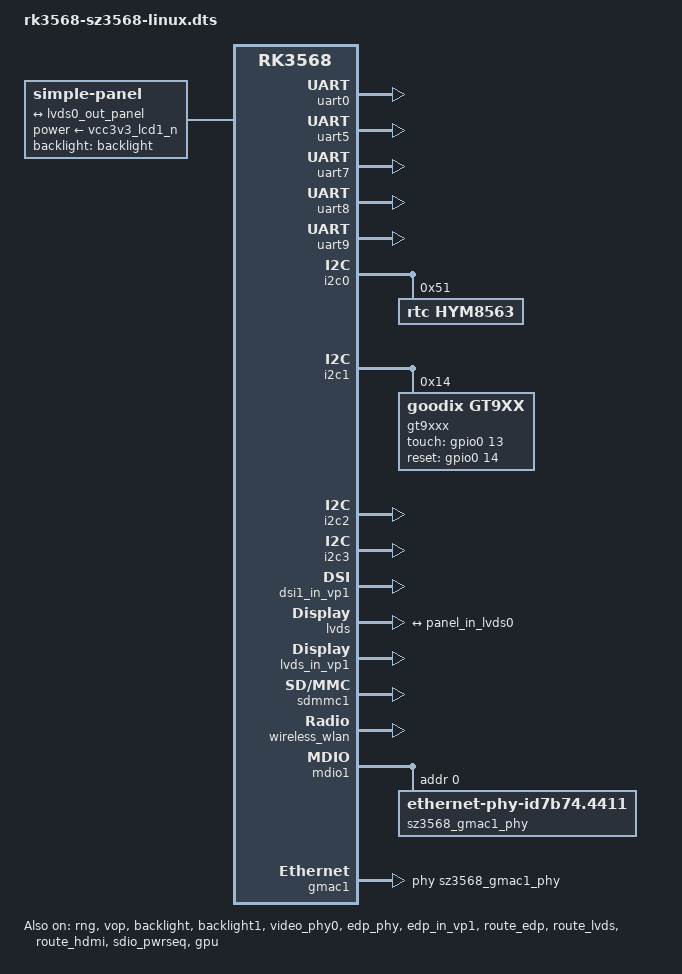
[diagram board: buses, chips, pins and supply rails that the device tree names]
#include "rk3568-sz3568-v10.dtsi"
#include "rk3568-linux.dtsi"
#include <dt-bindings/display/rockchip_vop.h>

/ {
        panel {
                compatible = "simple-panel";
                backlight = <&backlight>;
                power-supply = <&vcc3v3_lcd1_n>;
                enable-delay-ms = <20>;
                prepare-delay-ms = <20>;
                unprepare-delay-ms = <20>;
                disable-delay-ms = <20>;
                //bus-format = <MEDIA_BUS_FMT_RGB666_1X7X3_SPWG>;
                width-mm = <217>;
                height-mm = <136>;
        	status = "okay";

                disp_timings2: display-timings {
                        native-mode = <&timing0>;

                        timing0: timing0 {
                                /* iPool 7" XXR070B4120, 1024x600 single-ch LVDS.
                                 * Exact values from the vendor's WORKING shipped
                                 * DTB (sz3568_..._lvds_1024x600 image). */
                                clock-frequency = <66000000>;
                                hactive = <1024>;
                                vactive = <600>;
                                hback-porch = <200>;
                                hfront-porch = <110>;
                                vback-porch = <20>;
                                vfront-porch = <13>;
                                hsync-len = <10>;
                                vsync-len = <2>;
                                hsync-active = <0>;
                                vsync-active = <0>;
                                de-active = <0>;
                                pixelclk-active = <0>;
                        };
                };

                ports {
                        #address-cells = <1>;
                        #size-cells = <0>;

			/* Single-channel LVDS: panel <-> &lvds (LVDS0) only.
			 * (Vendor working 1024x600 build is single-channel; the
			 * dual-lvds odd/even split was for their 1920x1080 panel.) */
			port@0 {
				reg = <0>;
				panel_in_lvds0: endpoint {
					remote-endpoint = <&lvds0_out_panel>;
				};
			};
                };
        };
        edp-panel {
                compatible = "simple-panel";
                backlight = <&backlight>;
                power-supply = <&vcc3v3_lcd0_n>;
                prepare-delay-ms = <120>;
                enable-delay-ms = <120>;
                unprepare-delay-ms = <120>;
                disable-delay-ms = <120>;
        	status = "disabled";

                display-timings {
                        native-mode = <&edp_timing>;

                        edp_timing: timing0 {
                                clock-frequency = <120000000>;
                                hactive = <1920>;
                                vactive = <1080>;
                                hfront-porch = <12>;
                                hsync-len = <16>;
                                hback-porch = <48>;
                                vfront-porch = <8>;
                                vsync-len = <4>;
                                vback-porch = <8>;
                                hsync-active = <0>;
                                vsync-active = <0>;
                                de-active = <0>;
                                pixelclk-active = <0>;
                        };
                };

                port {
                        panel_in_edp: endpoint {
                                remote-endpoint = <&edp_out_panel>;
                        };
                };
        };
};

&rng {
        status = "okay";
};

&rockchip_suspend {
        status = "disabled";
};

&vop {
        support-multi-area;
};

&uart0 {
        status = "okay";
};
/*
&uart1 {
        pinctrl-names = "default";
        pinctrl-0 = <&uart1m1_xfer>;
        status = "okay";
};*/

&uart5 {
        pinctrl-names = "default";
        pinctrl-0 = <&uart5m1_xfer>;
        status = "okay";
};

&uart7 {
        pinctrl-names = "default";
        pinctrl-0 = <&uart7m2_xfer>;
        status = "okay";
};

&uart8 {
        pinctrl-names = "default";
        /* iPool bench: the UART3/ttyS8 header on this board is wired to the uart8
         * M0 pin group (that is where serial output actually appears). The vendor
         * DTS used uart8m1_xfer which routes ttyS8 to the M1 pins -> no output on
         * our header. Use m0 to match the physical console connection. */
        pinctrl-0 = <&uart8m0_xfer>;
        status = "okay";
};

&uart9 {
        pinctrl-names = "default";
        pinctrl-0 = <&uart9m2_xfer>;
        status = "okay";
};


&i2c0 {
        status = "okay";
         rtc@51 {
                compatible = "rtc,hym8563";
                reg = <0x51>;
                //irq_gpio = <&gpio4 25 IRQ_TYPE_EDGE_FALLING>;
        };

};

&i2c1 {
        status = "okay";

        gt9xxx: gt9xx@14 {
                compatible = "goodix,gt9xx";
                reg = <0x14>;
                //touch-gpio = <&gpio1 9 IRQ_TYPE_LEVEL_LOW>;
                //reset-gpio = <&gpio1 10 GPIO_ACTIVE_HIGH>;
                touch-gpio = <&gpio0 13 IRQ_TYPE_LEVEL_LOW>;
                reset-gpio = <&gpio0 14 GPIO_ACTIVE_HIGH>;
                max-x = <1536>;
                max-y = <2048>;
                tp-size = <970>;
                status = "okay";

        };

    gt911: gt911@14 {
                compatible = "goodix,gt9xx";
                reg = <0x14>;
                touch-gpio = <&gpio0 5 IRQ_TYPE_LEVEL_LOW>;
                reset-gpio = <&gpio0 12 GPIO_ACTIVE_HIGH>;
                max-x = <1280>;
                max-y = <800>;
                tp-size = <911>;
                status = "disabled";
        };
};

&i2c2 {
    status = "okay";
    /* i2c mux investigation CLOSED: m1 (GPIO4_B5/B4) = clean bus, 0 devices;
     * m0 (GPIO0_B5/B6) = continuous "rk3x-i2c fe5b0000.i2c: timeout state 2"
     * (bus stuck, floods log, delays boot to 40s). The GM8775C is on NEITHER --
     * it is not an i2c slave on this board (strap-configured). Keep m1 (clean). */
    pinctrl-0 = <&i2c2m1_xfer>;
        // tc_bridge: bridge@0f {

        //      compatible = "toshiba,tc358775";
        //      reg = <0x0f>;
        //      vdd-supply = <&vcc1v2_tc358775>;
        //      // vddio-supply = <&vcc1v2_tc358775>;
        //      // stby-gpios = <&gpio3 RK_PD5 GPIO_ACTIVE_LOW>;
        //      reset-gpios = <&gpio3 RK_PD5 GPIO_ACTIVE_LOW>;
        //      ports {
        //              #address-cells = <1>;
        //              #size-cells = <0>;
        //              port@0 {
        //                      reg = <0>;
        //                      d2l_in_test: endpoint {
        //                              remote-endpoint = <&dsi0_out>;
        //                      };
        //              };
        //              port@1 {
        //                      reg = <1>;
        //                      lvds_out: endpoint {
        //                              remote-endpoint = <&panel_in>;
        //                      };
        //              };
        //      };
        // };

        /* Bridge chips DISABLED: this board drives the panel via the SoC's
         * native LVDS (see DISPLAY block below), so neither the TC358775 nor
         * the GM8775C is in the display path. Left here (disabled) only to
         * document the vendor's populated-but-unused footprints; keeping them
         * "okay" just made the tc358775 driver probe a non-responding i2c slave. */
        tc8775: tc8775@0f {
        compatible ="toshiba,tc358775";
        reg=<0x0f>;
        status="disabled";
    };
        gm8775c@2c {
                               compatible = "gm8775c,mipi_to_lvds";
                               reg = <0x2c>;
                               status = "disabled";
               };

};

&i2c3 {
        status = "okay";

     /*  gt9xxx: gt9xx@14 {
                compatible = "goodix,gt9xx";
                reg = <0x14>;
               // touch-gpio = <&gpio1 9 IRQ_TYPE_LEVEL_LOW>;
               // reset-gpio = <&gpio1 10 GPIO_ACTIVE_HIGH>;
                touch-gpio = <&gpio0 13 IRQ_TYPE_LEVEL_LOW>;
                reset-gpio = <&gpio0 14 GPIO_ACTIVE_HIGH>;
                max-x = <1536>;
                max-y = <2048>;
                tp-size = <970>;
                status = "okay";

        };*/
};


&backlight {
        status = "okay";
        enable-gpios = <&gpio0 29 0>;
        power-supply = <&vcc3v3_lcd0_n>;
        post-pwm-on-delay-ms = <100>;
        pwm-off-delay-ms = <10>;

};

&backlight1 {
        enable-gpios = <&gpio0 28 0>;
        power-supply = <&vcc3v3_lcd1_n>;
        post-pwm-on-delay-ms = <100>;
        pwm-off-delay-ms = <10>;
        status = "okay";
};


&dsi0 {
        status = "disabled";
};

&dsi0_in_vp0 {
        status = "disabled";
};

&dsi0_in_vp1 {
        status = "disabled";
};

&video_phy0 {
        status = "okay";
};

&dsi1 {
        enable-gpios = <&gpio0 RK_PB0 GPIO_ACTIVE_HIGH>;
        tc3587_res-gpios = <&gpio3 RK_PD5 GPIO_ACTIVE_HIGH>;
        tc3587-res-gpios-sw = "on";
        power-supply = <&vcc1v2_tc358775>;
        rockchip,lane-rate = <900>;
        status = "disabled";
};

&dsi1_in_vp0 {
        status = "disabled";
};

&dsi1_in_vp1 {
        status = "okay";
};

&video_phy1 {
        status = "okay";
};

&edp {
        force-hpd;
        status = "disabled";

        ports {
                port@1 {
                        reg = <1>;

                        edp_out_panel: endpoint {
                                remote-endpoint = <&panel_in_edp>;
                        };
                };
        };
};

&edp_phy {
        status = "okay";
};

&edp_in_vp0 {
        status = "disabled";
};

&edp_in_vp1 {
        status = "okay";
};
&route_edp {
        connect = <&vp1_out_edp>;
        status = "okay";
};

&lvds {
        status = "disabled";
	dual-channel;

        ports {
                port@1 {
                        reg = <1>;

                        lvds0_out_panel: endpoint {
                                remote-endpoint = <&panel_in_lvds0>;
                        };
                };
        };

};

&lvds1 {
	status = "disabled";

	ports {
		port@1 {
			reg = <1>;
			lvds1_out_panel: endpoint {
				remote-endpoint = <&panel_in_lvds1>;
			};
		};
	};
};

&lvds_in_vp1 {
        status = "okay";
};

&lvds_in_vp2 {
        status = "disabled";
};
&route_lvds {
        status = "okay";
        connect = <&vp1_out_lvds>;
};

&dmc {
        status = "disabled";
        auto-freq-en = <0>;
};

&hdmi {
        status = "okay";
};

&route_hdmi{
        status = "okay";
};

&hdmi_sound {
        status = "okay";
};

&vp1{
        rockchip,plane-mask = <(1<< ROCKCHIP_VOP2_CLUSTER0 | 1 << ROCKCHIP_VOP2_ESMART0 | 1 << ROCKCHIP_VOP2_SMART0)>;
        rockchip,primary-plane = <ROCKCHIP_VOP2_SMART0>;
};

&vp0{
        rockchip,plane-mask = <(1<< ROCKCHIP_VOP2_CLUSTER1 | 1 << ROCKCHIP_VOP2_ESMART1 | 1 << ROCKCHIP_VOP2_SMART1)>;
        rockchip,primary-plane = <ROCKCHIP_VOP2_SMART1>;
};
/*
&vp0 {
        cursor-win-id = <ROCKCHIP_VOP2_CLUSTER0>;
};

&vp1 {
        cursor-win-id = <ROCKCHIP_VOP2_CLUSTER1>;
};*/

/*
 * iPool: disable USB2 host1 (EHCI fd880000 + OHCI fd8c0000). Its downstream
 * port is unpopulated (the board's 4G/USB slot) and floats, so the hub driver
 * spins in a tight retry loop spamming "usb5-port1: config error / Cannot
 * enable. Maybe the USB cable is bad?" -- this floods the synchronous ttyS8
 * console and starves the boot before userspace/Boot2Qt. Nothing we need is on
 * host1 (touchscreen is on host0 fd800000; WiFi AIC8800 is on SDIO sdmmc1), so
 * turn it off. Re-enable if the 4G/USB port is ever populated.
 */
&usb_host1_ehci {
	status = "disabled";
};

&usb_host1_ohci {
	status = "disabled";
};

/* ==========================================================================
 * WiFi (SDIO / sdmmc1): ENABLED -- RTL8723DS.
 *
 * The board's WiFi is RTL8723DS (confirmed: the vendor's own working sz3568
 * image DTB declares wifi_chip_type="rtl8723ds" and ships 8723ds.ko; the
 * "aic8800" string in rk3568-sz3568.dtsi is a variant/template leftover).
 * We override it to rtl8723ds below and install the matching driver.
 *
 * No pin conflict with our uart8m0 serial console: sdmmc1 uses GPIO2_A3..B0,
 * uart8m0 uses GPIO2_C5/C6, and sdio_pwrseq takes its 32 kHz from the rk809
 * PMIC (not a wifi_32k GPIO). Bluetooth stays DISABLED -- BT is on uart8,
 * which we use for the console; WiFi is on SDIO and doesn't touch uart8. Turn
 * BT on later only if the console is moved off uart8.
 * ========================================================================== */
&sdio_pwrseq  {
	status = "okay";
	/* Drop wifi_32k from the pinmux: v10.dtsi muxes it to GPIO2_C6, which is
	 * our uart8m0 serial-console pin, so the pwrseq fails to claim it
	 * ("pin gpio2-22 already requested by fe6c0000.serial ... Error applying
	 * setting"), which then aborts the WiFi power-on and no SDIO card / wlan0
	 * appears. wifi_32k is only the 32.768kHz WiFi sleep clock; RTL8723DS
	 * associates fine without it (loses only deep-sleep power saving). Keep
	 * just wifi_enable_h so the chip still gets powered/reset. */
	pinctrl-0 = <&wifi_enable_h>;
};
&sdmmc1       { status = "okay"; };
&wireless_wlan {
	status = "okay";
	wifi_chip_type = "rtl8723ds";
};
&wireless_bluetooth { status = "disabled"; };

/* ==========================================================================
 * MINIMAL BRING-UP: disable all heavy/optional (power-domain-backed) blocks so
 * the board boots clean to a serial login. Re-enable groups one at a time to
 * bring hardware back (display + DSI->LVDS bridge last). WiFi/BT + sdio_pwrseq
 * are disabled above (they also free uart8 RX). eMMC/PMIC/uart8/i2c/gmac kept.
 * ========================================================================== */

/* GPU: ENABLED for the PROPRIETARY Mali Bifrost driver (built into the kernel)
 * + libmali userspace -- the vendor's proven stack (their shipped image runs
 * exactly this). Unlike panfrost (which hard-hangs on GPU power-on here), the
 * proprietary driver brings the GPU power domain up correctly, so we KEEP the
 * vendor OPP table (the proprietary driver's DVFS parses it fine -- it was only
 * panfrost's generic OPP parser that choked on it). DDR freq scaling stays off. */
&gpu { status = "okay"; };
&dmc { status = "disabled"; };

/* Media Process Platform (video codecs) */
&rkvdec { status = "disabled"; };
&rkvenc { status = "disabled"; };
&vdpu   { status = "disabled"; };
&vepu   { status = "disabled"; };
&iep    { status = "disabled"; };
&jpegd  { status = "disabled"; };
&rknpu  { status = "disabled"; };

/* Display pipeline (headless bring-up; re-added with the panel later) */
/* HDMI RE-ENABLED: VOP2 + HDMI on VP0 give a display + a console on the HDMI
 * screen (fbcon on tty1). With a USB keyboard this is a local shell that
 * bypasses the broken serial RX. Bridge-independent; GPU stays off (fbcon needs
 * only VOP2, not Mali). */
&vop        { status = "disabled"; };
&hdmi       { status = "disabled"; };
&hdmi_sound { status = "disabled"; };
&dsi0       { status = "disabled"; };
&dsi1       { status = "disabled"; };
&edp        { status = "disabled"; };
&lvds       { status = "disabled"; };
&lvds1      { status = "disabled"; };
&video_phy0 { status = "disabled"; };
&video_phy1 { status = "disabled"; };

/* Cameras / ISP */
&csi2_dphy0   { status = "disabled"; };
&csi2_dphy_hw { status = "disabled"; };
&mipi_csi2    { status = "disabled"; };
&rkcif        { status = "disabled"; };
&rkcif_mmu    { status = "disabled"; };
&rkisp        { status = "disabled"; };
&rkisp_mmu    { status = "disabled"; };

/* Audio */
&rk809_sound { status = "disabled"; };
&i2s0_8ch    { status = "disabled"; };
&i2s1_8ch    { status = "disabled"; };

/* PCIe */
&pcie2x1   { status = "disabled"; };
&pcie3x2   { status = "disabled"; };
&pcie30phy { status = "disabled"; };

/* ==========================================================================
 * DISPLAY: VOP2 (VP1) -> NATIVE RK3568 LVDS (&lvds) -> simple-panel (1024x600).
 *
 * THE VENDOR'S ACTUAL WORKING PATH, confirmed by decompiling the DTB out of
 * their shipped sz3568_Ubuntu1804_..._lvds_1024x600 firmware image: the panel is
 * a plain root-level "simple-panel" driven by the SoC's built-in LVDS TX -- NOT
 * DSI and NOT the GM8775C bridge. In the working DTB dsi@fe060000 and
 * dsi@fe070000 are BOTH disabled, and gm8775c@2c / tc8775@0f merely probe on i2c2
 * (vestigial -- they drive nothing). Hence the entire i2c / DSI-command-mode
 * bridge-config effort was chasing a pipeline this board doesn't use.
 *
 * Single-channel, 24-bit; LVDS output format = rk3568-lvds driver default (the
 * vendor DTB sets no bus-format/data-mapping). The vendor body above already has
 * &lvds_in_vp1 = okay and &route_lvds = okay (connect <&vp1_out_lvds>), and
 * &lvds port@1 (lvds0_out_panel) -> panel port@0 (panel_in_lvds0). Here we just
 * enable &vop + &lvds (single channel) and keep the DSI/bridge path OFF so it
 * cannot steal VP1.
 * ========================================================================== */
&vop         { status = "okay"; };
&video_phy0  { status = "okay"; };

&lvds {
	status = "okay";
	/delete-property/ dual-channel;   /* single-channel for the 1024x600 panel */
};

/* DSI/bridge path stays OFF (dsi0 on VP1 would collide with LVDS on VP1). */
&dsi0 { status = "disabled"; };
&dsi1 { status = "disabled"; };

/* We converted the panel to a single LVDS port (dropped port@1/panel_in_lvds1),
 * so the &lvds1 output endpoint's remote-endpoint now dangles. Drop it (lvds1
 * stays disabled) to keep the phandle graph valid. */
&lvds1_out_panel {
	/delete-property/ remote-endpoint;
};


/* ==========================================================================
 * Ethernet (gmac1) -- WORKING. Was "abandoned"; the real cause was a missing
 * PHY driver, not the SoC clock tree.
 *
 * The PHY is a Maxio MAE0621A. This BSP ships no driver for it, so phylib bound
 * genphy, which never runs maxio_mae0621a_clk_init() -- the routine that flips
 * BIT(8) of page 0xd92 reg 0x02 and makes the MAE0621A source the 125 MHz RGMII
 * clock. The PHY therefore never started: MDIO read 0xffff and the GMAC DMA reset
 * hung. Guangdong Hpraise supplied drivers/net/phy/maxio.c (v1.8.1.4); the recipe
 * installs it and builds it in via CONFIG_MAXIO_PHY=y (ethernet-maxio.cfg).
 *
 * The earlier clock_in_out="output" / clk_mac1_out experiment was chasing this
 * from the wrong end. Schematic SZ3568-V12-162 sheet 23 settles it: Y4 is a
 * 25 MHz SMD3225 crystal on PHY0_XTALIN/XTALOUT, and R168 22R carries
 * PHY0_CLKOUT125 -> GMAC1_MCLKINOUT marked "MAC <- PHY". The PHY is the clock
 * SOURCE, so clock_in_out = "input" in rk3568-sz3568-v10.dtsi is correct.
 *
 * PHY ADDRESS = 0. Verified on the target with `mdio stmmac-1`, which walks the
 * bus over netlink and so bypasses phylib:
 *
 *     DEV      PHY-ID  LINK
 *     0x00  0x7b744411  up
 *
 * 0x7b744411 is exactly the MAE0621A-Q2C id in maxio.c. Sheet 23's "PHY Address
 * 1 (default)" table lists the strap OPTIONS; this build omits the R182 pull-up
 * on PHYAD0, so it straps to 0 and the vendor's original reg = <0x0> was right.
 *
 * Two traps worth recording:
 *   - The vendor dtsi declares FOUR nodes all named "phy@0" under &mdio1
 *     (qsgmii_phy0, rmii_phy1, rgmii_phy1 + phy@0). dtc silently MERGES
 *     same-named nodes, so all three labels resolve to one node. Replaced here
 *     with a single explicit node.
 *   - Leaving &mdio1 childless does NOT enable bus scanning:
 *     of_mdiobus_register() sets mdio->phy_mask = ~0 to suppress auto-probing and
 *     registers only DT children, so no children means no PHY at all. An explicit
 *     node is mandatory.
 *
 * Other schematic checks that came back clean: GMAC1_RSTN_L is GPIO3_A1 ball AB8
 * (matches snps,reset-gpio in the dtsi), every GMAC1 signal is an _M0 function
 * (matches the gmac1m0_* pinctrl), and VCC3V3_PHY0 is SYS+3V3 through 0R R193 so
 * the rail is unconditionally on.
 *
 * gmac0's phy-handle is deleted only so phy@0 can be removed without dangling
 * that phandle; gmac0 is status = "disabled" (QSGMII, not fitted on this board).
 * With gmac0 off, gmac1 enumerates as eth0 -- not eth1.
 * ========================================================================== */
&gmac0 {
	/delete-property/ phy-handle;
};

&mdio1 {
	/delete-node/ phy@0;
	/delete-node/ phy@1;
	/delete-node/ phy@2;
	/delete-node/ phy@3;
};

/* The PHY ID is HARD-CODED here on purpose -- do not "simplify" this back to a
 * bare ethernet-phy-ieee802.3-c22.
 *
 * With the generic compatible, phylib probes the ID itself, and on this board the
 * FIRST MDIO read after the PHY reset comes back 0xffff because the MAE0621A is
 * not out of reset yet. Register 3 then reads correctly, so phylib computed:
 *
 *     /sys/bus/mdio_bus/devices/stmmac-1:00/phy_id = 0xffff4411
 *                                                     ^^^^ reg 2 lost
 *
 * against the driver's 0x7b744411 / mask 0x7fffffff:
 *     (0xffff4411 ^ 0x7b744411) & 0x7fffffff = 0x048b0000  -> no match
 * so it fell back to "Generic PHY". genphy then hangs in genphy_soft_reset()
 * polling BMCR_RESET on this paged part, which surfaced as
 *     ip link set eth0 up -> RTNETLINK answers: Connection timed out
 *
 * (Re-reading the same registers later works fine -- `mdio stmmac-1 phy 0 raw 2`
 * returns 0x7b74 and `raw 3` returns 0x4411 -- confirming it is purely a
 * reset-timing race on the first read, not a wiring or address problem.)
 *
 * "ethernet-phy-idAAAA.BBBB" makes of_mdiobus_register() construct the phy_device
 * with that exact id and skip the probe, so the MAE0621A driver binds
 * deterministically no matter how slow the PHY is to wake. AAAA = register 2,
 * BBBB = register 3. The c22 string is kept as the documented fallback. */
&mdio1 {
	sz3568_gmac1_phy: ethernet-phy@0 {
		compatible = "ethernet-phy-id7b74.4411",
			     "ethernet-phy-ieee802.3-c22";
		reg = <0x0>;
	};
};

&gmac1 {
	phy-handle = <&sz3568_gmac1_phy>;
};
